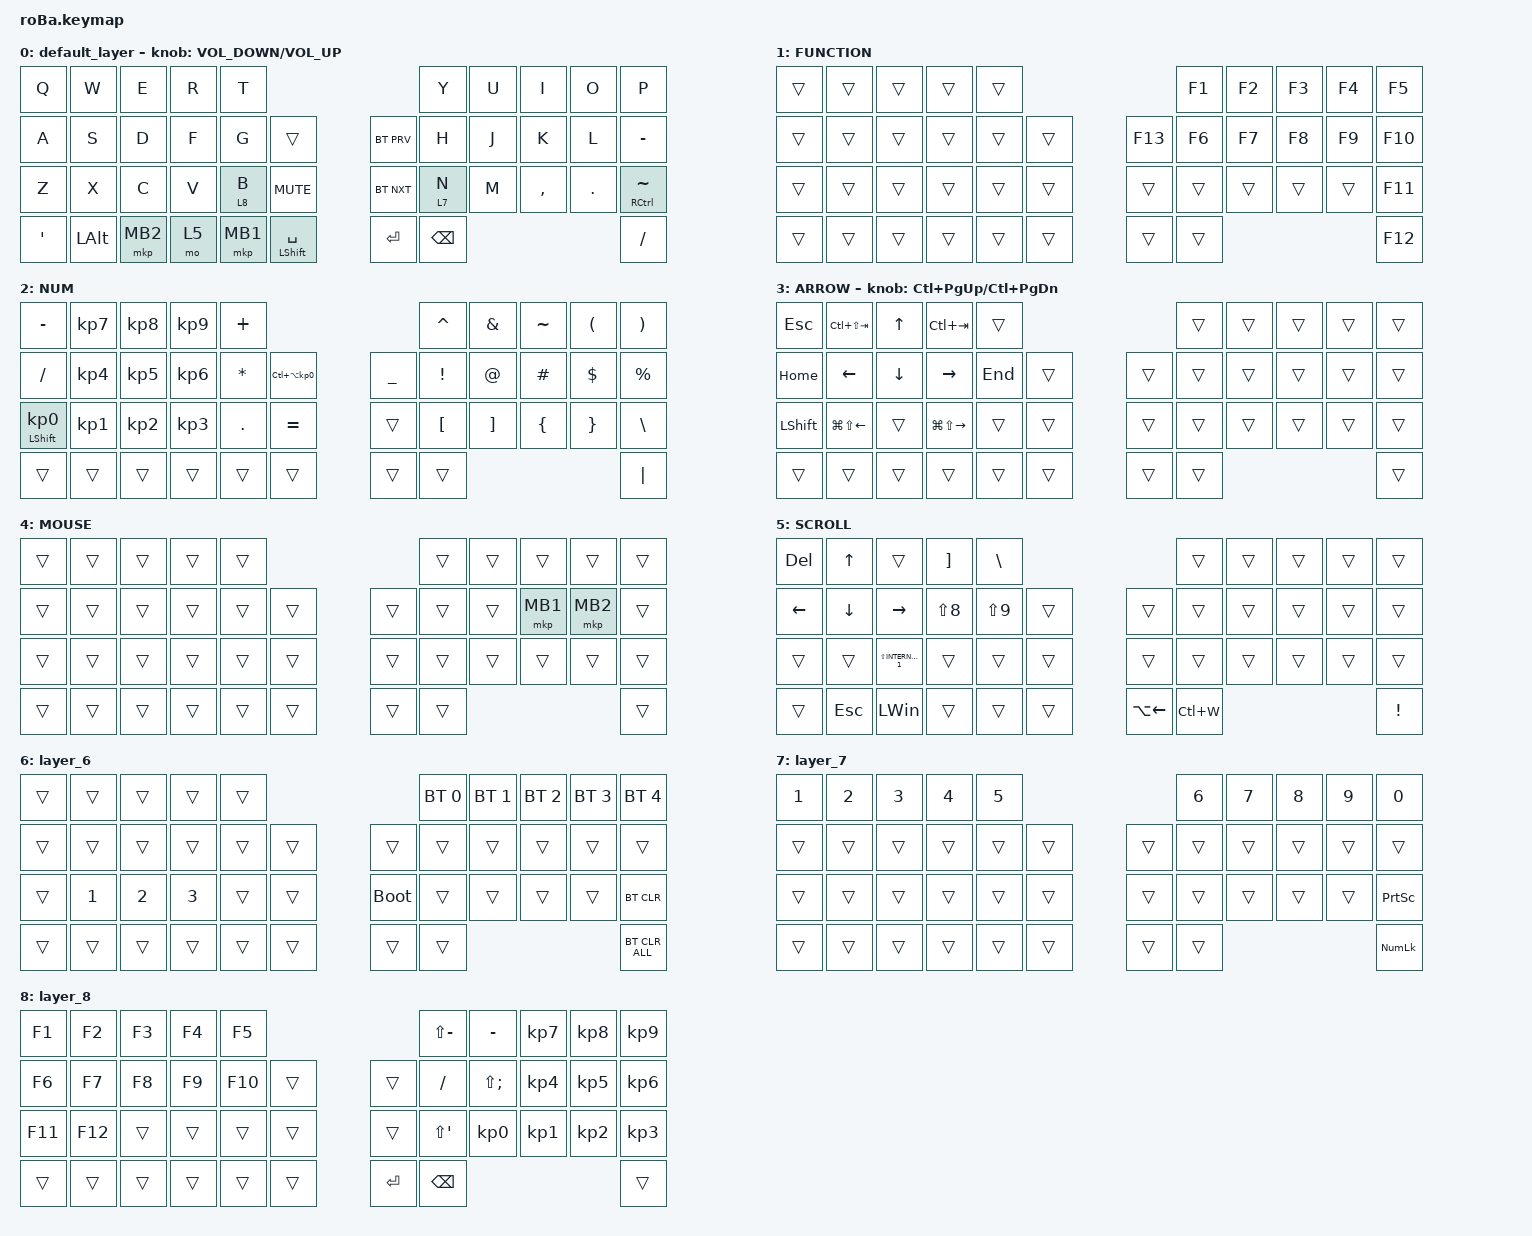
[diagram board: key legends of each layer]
#include <behaviors.dtsi>
#include <dt-bindings/zmk/bt.h>
#include <dt-bindings/zmk/keys.h>
#include <dt-bindings/zmk/pointing.h>

&mt {
    flavor = "balanced";
    quick-tap-ms = <0>;
};

&trackball {
    automouse-layer = <4>;
    scroll-layers = <5>;

    // arrows {
    //     layers = <3>;
    //     bindings =
    //         <&kp RIGHT_ARROW>,
    //         <&kp LEFT_ARROW>,
    //         <&kp UP_ARROW>,
    //         <&kp DOWN_ARROW>;
    //     tick = <10>;
    //     wait-ms = <5>;
    //     tap-ms = <5>;
    // };
};

/ {
    combos {
        compatible = "zmk,combos";

        tab {
            bindings = <&kp TAB>;
            key-positions = <11 12>;
        };

        shift_tab {
            bindings = <&kp LS(TAB)>;
            key-positions = <12 13>;
        };

        muhennkann {
            bindings = <&to_layer_0 INT_MUHENKAN>;
            key-positions = <11 10>;
        };

        double_quotation {
            bindings = <&kp DOUBLE_QUOTES>;
            key-positions = <20 21>;
        };

        eq {
            bindings = <&kp EQUAL>;
            key-positions = <24 25>;
        };
    };

    macros {
        to_layer_0: to_layer_0 {
            compatible = "zmk,behavior-macro-one-param";
            #binding-cells = <1>;
            bindings = <&to 0 &macro_param_1to1 &kp MACRO_PLACEHOLDER>;
            label = "TO_LAYER_0";
        };
    };

    behaviors {
        lt_to_layer_0: lt_to_layer_0 {
            compatible = "zmk,behavior-hold-tap";
            label = "LAYER_TAP_TO_0";
            bindings = <&mo>, <&to_layer_0>;

            #binding-cells = <2>;
            tapping-term-ms = <200>;
        };
    };

    keymap {
        compatible = "zmk,keymap";

        default_layer {
            bindings = <
&kp Q             &kp W         &kp E     &kp R  &kp T                                           &kp Y          &kp U  &kp I      &kp O    &kp P
&kp A             &kp S         &kp D     &kp F  &kp G     &trans                    &bt BT_PRV  &kp H          &kp J  &kp K      &kp L    &kp MINUS
&kp Z             &kp X         &kp C     &kp V  &lt 8 B   &kp C_MUTE                &bt BT_NXT  &lt 7 N        &kp M  &kp COMMA  &kp DOT  &mt RCTRL TILDE
&kp SINGLE_QUOTE  &kp LEFT_ALT  &mkp MB2  &mo 5  &mkp MB1  &mt LEFT_SHIFT SPACE      &kp ENTER   &kp BACKSPACE                             &kp SLASH
            >;

            sensor-bindings = <&inc_dec_kp C_VOLUME_DOWN C_VOLUME_UP>;
        };

        FUNCTION {
            bindings = <
&trans  &trans  &trans  &trans  &trans                       &kp F1  &kp F2  &kp F3  &kp F4  &kp F5
&trans  &trans  &trans  &trans  &trans  &trans      &kp F13  &kp F6  &kp F7  &kp F8  &kp F9  &kp F10
&trans  &trans  &trans  &trans  &trans  &trans      &trans   &trans  &trans  &trans  &trans  &kp F11
&trans  &trans  &trans  &trans  &trans  &trans      &trans   &trans                          &kp F12
            >;
        };

        NUM {
            bindings = <
&kp MINUS                   &kp KP_NUMBER_7  &kp KP_NUMBER_8  &kp KP_NUMBER_9  &kp PLUS                                                   &kp CARET         &kp AMPERSAND      &kp TILDE       &kp LEFT_PARENTHESIS  &kp RIGHT_PARENTHESIS
&kp SLASH                   &kp KP_NUMBER_4  &kp KP_NUMBER_5  &kp KP_NUMBER_6  &kp ASTERISK  &kp LC(LA(KP_NUMBER_0))      &kp UNDERSCORE  &kp EXCLAMATION   &kp AT_SIGN        &kp HASH        &kp DOLLAR            &kp PERCENT
&mt LEFT_SHIFT KP_NUMBER_0  &kp KP_NUMBER_1  &kp KP_NUMBER_2  &kp KP_NUMBER_3  &kp PERIOD    &kp EQUAL                    &trans          &kp LEFT_BRACKET  &kp RIGHT_BRACKET  &kp LEFT_BRACE  &kp RIGHT_BRACE       &kp BACKSLASH
&trans                      &trans           &trans           &trans           &trans        &trans                       &trans          &trans                                                                     &kp PIPE
            >;
        };

        ARROW {
            bindings = <
&kp ESCAPE      &kp LC(LS(TAB))         &kp UP_ARROW    &kp LC(TAB)              &trans                       &trans  &trans  &trans  &trans  &trans
&kp HOME        &kp LEFT_ARROW          &kp DOWN_ARROW  &kp RIGHT_ARROW          &kp END  &trans      &trans  &trans  &trans  &trans  &trans  &trans
&kp LEFT_SHIFT  &kp LG(LS(LEFT_ARROW))  &trans          &kp LG(LS(RIGHT_ARROW))  &trans   &trans      &trans  &trans  &trans  &trans  &trans  &trans
&trans          &trans                  &trans          &trans                   &trans   &trans      &trans  &trans                          &trans
            >;

            sensor-bindings = <&inc_dec_kp LC(PAGE_UP) LC(PAGE_DOWN)>;
        };

        MOUSE {
            bindings = <
&trans  &trans  &trans  &trans  &trans                      &trans  &trans  &trans    &trans    &trans
&trans  &trans  &trans  &trans  &trans  &trans      &trans  &trans  &trans  &mkp MB1  &mkp MB2  &trans
&trans  &trans  &trans  &trans  &trans  &trans      &trans  &trans  &trans  &trans    &trans    &trans
&trans  &trans  &trans  &trans  &trans  &trans      &trans  &trans                              &trans
            >;
        };

        SCROLL {
            bindings = <
&kp DELETE      &kp UP_ARROW    &trans                   &kp RIGHT_BRACKET  &kp BACKSLASH                                     &trans     &trans  &trans  &trans  &trans
&kp LEFT_ARROW  &kp DOWN_ARROW  &kp RIGHT_ARROW          &kp LS(NUMBER_8)   &kp LS(NUMBER_9)  &trans      &trans              &trans     &trans  &trans  &trans  &trans
&trans          &trans          &kp LS(INTERNATIONAL_1)  &trans             &trans            &trans      &trans              &trans     &trans  &trans  &trans  &trans
&trans          &kp ESCAPE      &kp LEFT_WIN             &trans             &trans            &trans      &kp LA(LEFT_ARROW)  &kp LC(W)                          &kp EXCLAMATION
            >;
        };

        layer_6 {
            bindings = <
&trans  &trans        &trans        &trans        &trans                           &bt BT_SEL 0  &bt BT_SEL 1  &bt BT_SEL 2  &bt BT_SEL 3  &bt BT_SEL 4
&trans  &trans        &trans        &trans        &trans  &trans      &trans       &trans        &trans        &trans        &trans        &trans
&trans  &kp NUMBER_1  &kp NUMBER_2  &kp NUMBER_3  &trans  &trans      &bootloader  &trans        &trans        &trans        &trans        &bt BT_CLR
&trans  &trans        &trans        &trans        &trans  &trans      &trans       &trans                                                  &bt BT_CLR_ALL
            >;
        };

        layer_7 {
            bindings = <
&kp NUMBER_1  &kp NUMBER_2  &kp NUMBER_3  &kp NUMBER_4  &kp NUMBER_5                      &kp NUMBER_6  &kp NUMBER_7  &kp NUMBER_8  &kp NUMBER_9  &kp NUMBER_0
&trans        &trans        &trans        &trans        &trans        &trans      &trans  &trans        &trans        &trans        &trans        &trans
&trans        &trans        &trans        &trans        &trans        &trans      &trans  &trans        &trans        &trans        &trans        &kp PRINTSCREEN
&trans        &trans        &trans        &trans        &trans        &trans      &trans  &trans                                                  &kp KP_NUMLOCK
            >;
        };

        layer_8 {
            bindings = <
&kp F1   &kp F2   &kp F3  &kp F4  &kp F5                          &kp LS(MINUS)         &kp MINUS          &kp KP_NUMBER_7  &kp KP_NUMBER_8  &kp KP_NUMBER_9
&kp F6   &kp F7   &kp F8  &kp F9  &kp F10  &trans      &trans     &kp SLASH             &kp LS(SEMICOLON)  &kp KP_NUMBER_4  &kp KP_NUMBER_5  &kp KP_NUMBER_6
&kp F11  &kp F12  &trans  &trans  &trans   &trans      &trans     &kp LS(SINGLE_QUOTE)  &kp KP_NUMBER_0    &kp KP_NUMBER_1  &kp KP_NUMBER_2  &kp KP_NUMBER_3
&trans   &trans   &trans  &trans  &trans   &trans      &kp ENTER  &kp BACKSPACE                                                              &trans
            >;
        };
    };
};
